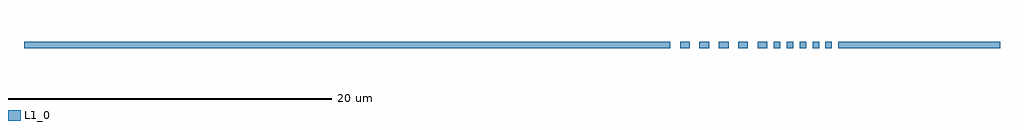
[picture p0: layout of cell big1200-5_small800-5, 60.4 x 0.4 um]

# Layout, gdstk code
import gdstk
lib = gdstk.Library(unit=1e-6, precision=1e-09)
def R(c, l, rs):  # rectangles x0, y0, x1, y1
    for r in rs: c.add(gdstk.rectangle(r[:2], r[2:], *l))
def A(c, l, x, y, w, h, nx, ny, dx, dy):  # array of equal rectangles
    R(c, l, [(x+i*dx, y+j*dy, x+i*dx+w, y+j*dy+h) for i in range(nx) for j in range(ny)])
L1_0 = (1, 0)

big1200_5_small800_5 = lib.new_cell('big1200-5_small800-5')
A(big1200_5_small800_5, L1_0, 0.6, 0, 0.6, 0.4, 5, 1, 1.2, 0)
A(big1200_5_small800_5, L1_0, 6.4, 0, 0.4, 0.4, 5, 1, 0.8, 0)
R(big1200_5_small800_5, L1_0, [(-40,0,0,0.4), (10.4,0,20.4,0.4)])

lib.write_gds('big1200-5_small800-5.gds')
